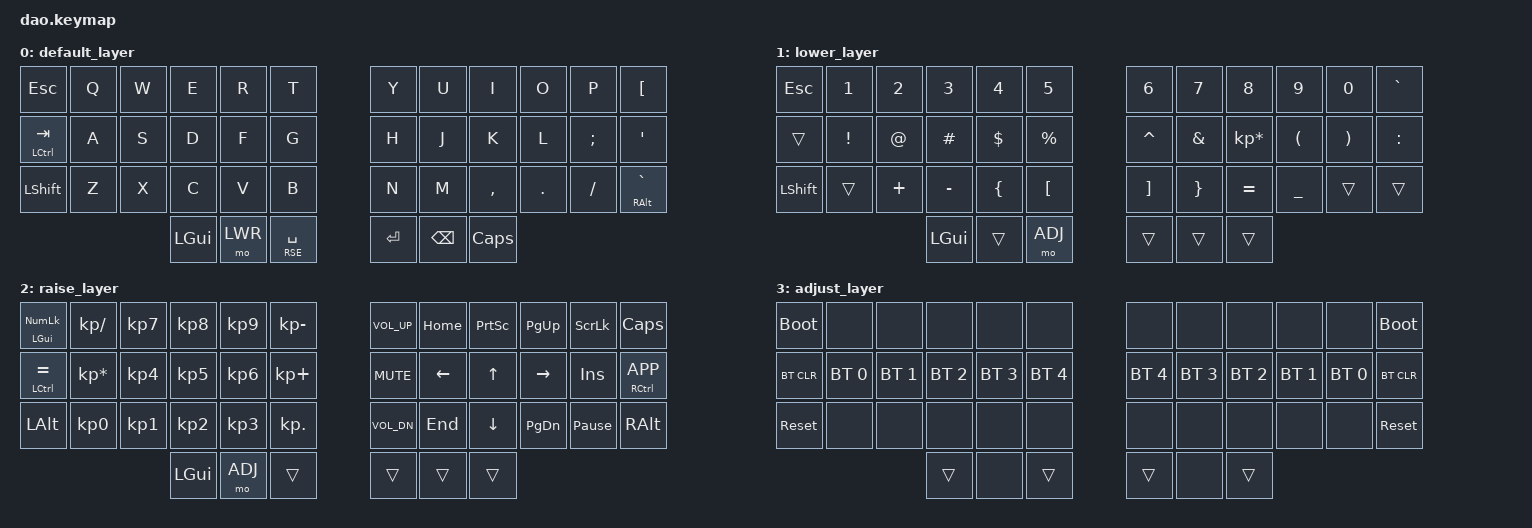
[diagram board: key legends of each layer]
/*
 * Copyright (c) 2021 Rafael Yumagulov
 *
 * SPDX-License-Identifier: MIT
 */

#include <behaviors.dtsi>
#include <dt-bindings/zmk/keys.h>
#include <dt-bindings/zmk/bt.h>

#define DEF 0
#define LWR 1
#define RSE 2
#define ADJ 3

&lt { quick_tap_ms = <200>; };
&mt { quick_tap_ms = <200>; };

/ {
    chosen {
        zmk,matrix_transform = &default_transform;
        // zmk,matrix_transform = &extra_keys_transform;
    };
};

/ {
        keymap {
                compatible = "zmk,keymap";

                default_layer {
                        bindings = <
          &kp ESC           &kp Q   &kp W   &kp E         &kp R             &kp T         &kp Y         &kp U            &kp I         &kp O     &kp P      &kp LBKT       
          &mt LCTRL TAB     &kp A   &kp S   &kp D         &kp F             &kp G         &kp H         &kp J            &kp K         &kp L     &kp SEMI   &kp SQT
          &kp LSHFT         &kp Z   &kp X   &kp C         &kp V             &kp B         &kp N         &kp M            &kp COMMA     &kp DOT   &kp FSLH   &mt RALT GRAVE
                                            &kp LGUI      &mo LWR           &lt RSE SPACE &kp RET       &kp BSPC         &kp CAPSLOCK
                        >;
                };

                lower_layer {
                        bindings = <
           &kp ESC    &kp N1       &kp N2            &kp N3             &kp N4               &kp N5            &kp N6                   &kp N7                     &kp N8                 &kp N9                   &kp N0     &kp GRAVE
           &trans     &kp EXCL     &kp AT            &kp HASH           &kp DLLR             &kp PRCNT         &kp CARET                &kp AMPS                   &kp KP_MULTIPLY        &kp LPAR                 &kp RPAR   &kp COLON
           &kp LSHFT  &trans       &kp PLUS          &kp MINUS          &kp LEFT_BRACE       &kp LEFT_BRACKET  &kp RIGHT_BRACKET        &kp RIGHT_BRACE            &kp EQUAL              &kp UNDERSCORE           &trans     &trans
                                                     &kp LGUI           &trans               &mo ADJ        &trans                   &trans                     &trans
                                >;
                        };

                raise_layer {
                        bindings = <
          &mt LGUI KP_NUM   &kp KP_SLASH      &kp KP_N7   &kp KP_N8   &kp KP_N9   &kp KP_MINUS   &kp C_VOL_UP   &kp HOME   &kp PSCRN   &kp PG_UP   &kp SLCK          &kp CLCK   
          &mt LCTRL EQUAL   &kp KP_MULTIPLY   &kp KP_N4   &kp KP_N5   &kp KP_N6   &kp KP_PLUS    &kp C_MUTE     &kp LEFT   &kp UP      &kp RIGHT   &kp INS           &mt RCTRL  K_APP
          &kp LALT          &kp KP_N0         &kp KP_N1   &kp KP_N2   &kp KP_N3   &kp KP_DOT     &kp C_VOL_DN   &kp END    &kp DOWN    &kp PG_DN   &kp PAUSE_BREAK   &kp RALT
                                                          &kp LGUI    &mo ADJ     &trans         &trans         &trans     &trans
                        >;
                };
                adjust_layer {
                        bindings = <
 &bootloader   &none          &none          &none          &none          &none          &none          &none          &none          &none          &none          &bootloader
 &bt BT_CLR    &bt BT_SEL 0   &bt BT_SEL 1   &bt BT_SEL 2   &bt BT_SEL 3   &bt BT_SEL 4   &bt BT_SEL 4   &bt BT_SEL 3   &bt BT_SEL 2   &bt BT_SEL 1   &bt BT_SEL 0   &bt BT_CLR
 &sys_reset        &none          &none          &none          &none          &none          &none          &none          &none          &none          &none          &sys_reset
                                             &trans         &none          &trans         &trans         &none          &trans
                        >;
                };
        };
};
